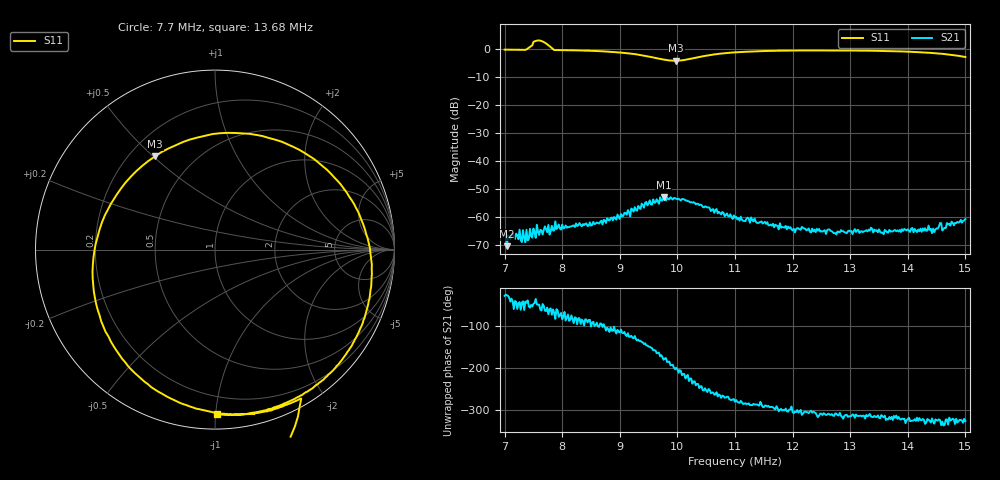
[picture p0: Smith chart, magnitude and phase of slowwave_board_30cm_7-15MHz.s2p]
! Measured S11/S21; S12/S22 are placeholders, NOT measurements. Calibration unverified.
! [Saver CAL applied] C:\Users\aknya\MyProjects\rf-simulator\calibration2.cal | Ideal standards assumed | Input: NanoVNA F V2 profile | COM3 | 2026-10-04T10:23:16.1845952-04:00 | device calibration unverified
# HZ S RI R 50
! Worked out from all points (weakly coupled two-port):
!   401 points, 7 MHz to 15 MHz, reference 50 ohm
!   highest |S21| = -52.89 dB at 9.76 MHz (marker M1); lowest = -70.4 dB at 7.04 MHz (marker M2)
!   lowest |S11| = -4.2 dB at 9.98 MHz (marker M3), VSWR 4.22, Z = 15.1 + j25.4 ohm
!   |S11| at or under -10 dB: nowhere
!   S12 and S22 are empty: the file has one direction only
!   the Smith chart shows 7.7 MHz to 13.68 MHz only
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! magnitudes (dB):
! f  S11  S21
! 7 MHz  -0.2  -66.1
! 7.04 MHz  -0.2  -70.4
! 7.22 MHz  -0.3  -66.4
! 7.32 MHz  -0.3  -64.7
! 7.36 MHz  -0.3  -69.0
! 7.38 MHz  -0.1  -64.5
! 7.6 MHz  3.1  -66.4
! 7.88 MHz  -0.4  -61.5
! 8.34 MHz  -0.5  -63.3
! 8.96 MHz  -1.2  -59.1
! 9.48 MHz  -2.6  -55.8
! 9.68 MHz  -3.5  -55.3
! 9.76 MHz  -3.8  -52.9
! 9.98 MHz  -4.2  -53.4
! 11 MHz  -1.2  -60.3
! 12.02 MHz  -0.5  -64.2
! 12.34 MHz  -0.5  -64.1
! 13.68 MHz  -0.7  -64.6
! 14.46 MHz  -1.5  -65.3
! 14.54 MHz  -1.6  -63.4
! 14.64 MHz  -1.8  -63.9
! 15 MHz  -2.9  -60.7
